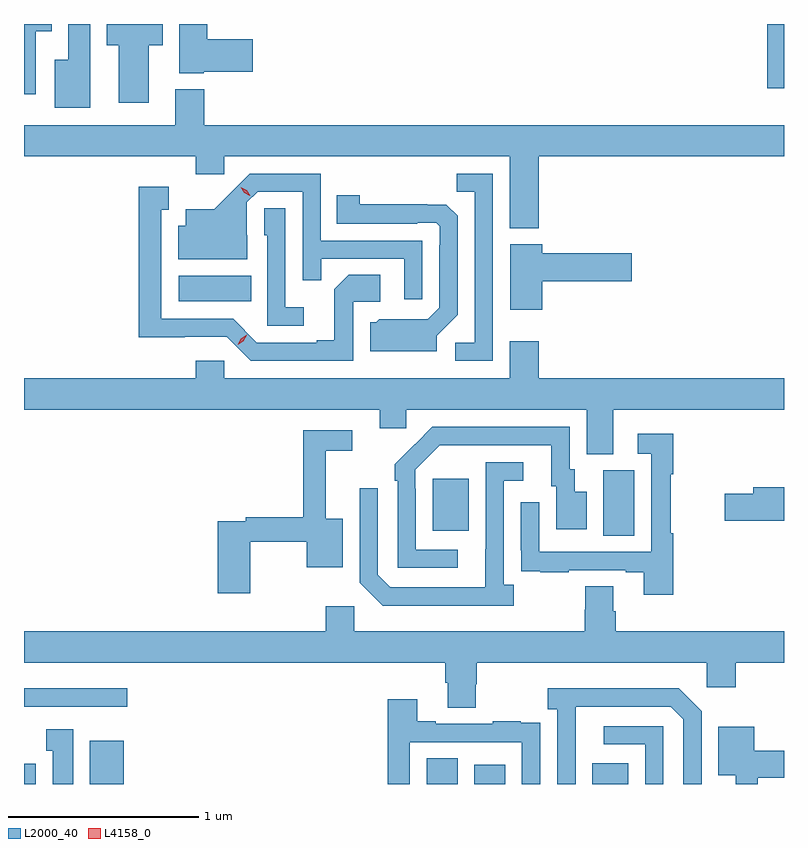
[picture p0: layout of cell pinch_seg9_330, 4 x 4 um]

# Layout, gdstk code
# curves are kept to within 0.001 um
import gdstk
lib = gdstk.Library(unit=1e-6, precision=1e-09)
def R(c, l, rs):  # rectangles x0, y0, x1, y1
    for r in rs: c.add(gdstk.rectangle(r[:2], r[2:], *l))
def P(c, l, *ps):  # polygons
    for p in ps: c.add(gdstk.Polygon(p, *l))
L2000_40 = (2000, 40)
L4158_0 = (4158, 0)

pinch_seg9_330 = lib.new_cell('pinch_seg9_330')
R(pinch_seg9_330, L2000_40, [(613.861,1187.789,613.924,1187.896), (614.207,1187.789,614.386,1188.016), (615.98,1187.789,616.144,1187.924), (616.232,1187.789,616.393,1187.89), (616.853,1187.789,617.041,1187.899), (613.861,1188.195,614.404,1188.292), (616.91,1189.096,617.074,1189.44), (616.013,1189.121,616.201,1189.396), (614.676,1190.33,615.056,1190.464), (617.773,1191.45,617.861,1191.789)])
P(pinch_seg9_330, L2000_40, [(614.808,1191.539),(615.064,1191.539),(615.064,1191.71),(614.825,1191.71),(614.825,1191.789),(614.678,1191.789),(614.678,1191.53),(614.808,1191.53)],
  [(613.924,1191.752),(614.008,1191.752),(614.008,1191.789),(613.861,1191.789),(613.861,1191.42),(613.924,1191.42)],
  [(614.518,1191.677),(614.59,1191.677),(614.59,1191.789),(614.297,1191.789),(614.297,1191.677),(614.36,1191.677),(614.36,1191.375),(614.518,1191.375)],
  [(614.209,1191.789),(614.093,1191.789),(614.093,1191.601),(614.024,1191.601),(614.024,1191.347),(614.209,1191.347)],
  [(616.571,1191.092),(617.861,1191.092),(617.861,1191.256),(614.81,1191.256),(614.81,1191.445),(614.657,1191.445),(614.657,1191.256),(613.861,1191.256),(613.861,1191.092),(614.765,1191.092),(614.765,1190.997),(614.916,1190.997),(614.916,1191.092),(616.418,1191.092),(616.418,1190.714),(616.571,1190.714)],
  [(616.329,1191),(616.138,1191),(616.138,1190.905),(616.233,1190.905),(616.233,1190.112),(616.131,1190.112),(616.131,1190.016),(616.329,1190.016)],
  [(615.957,1190.649),(615.423,1190.649),(615.423,1191),(615.05,1191),(614.863,1190.815),(614.711,1190.815),(614.711,1190.728),(614.672,1190.728),(614.672,1190.552),(615.037,1190.552),(615.037,1190.676),(615.033,1190.676),(615.033,1190.85),(615.09,1190.907),(615.327,1190.907),(615.327,1190.44),(615.425,1190.44),(615.425,1190.553),(615.861,1190.553),(615.861,1190.34),(615.957,1190.34)],
  [(615.594,1190.328),(615.736,1190.328),(615.736,1190.468),(615.571,1190.468),(615.495,1190.392),(615.495,1190.125),(615.401,1190.125),(615.401,1190.112),(615.087,1190.112),(614.961,1190.238),(614.584,1190.238),(614.584,1190.811),(614.623,1190.811),(614.623,1190.932),(614.466,1190.932),(614.466,1190.141),(614.928,1190.142),(615.054,1190.016),(615.594,1190.016)],
  [(616.033,1190.148),(616.143,1190.258),(616.143,1190.78),(616.084,1190.839),(615.627,1190.84),(615.627,1190.887),(615.508,1190.887),(615.508,1190.739),(615.932,1190.739),(615.932,1190.742),(616.032,1190.742),(616.05,1190.724),(616.05,1190.624),(616.047,1190.624),(616.047,1190.295),(615.987,1190.235),(615.73,1190.236),(615.714,1190.22),(615.683,1190.22),(615.683,1190.066),(616.033,1190.066)],
  [(615.334,1190.299),(615.237,1190.299),(615.237,1190.819),(615.126,1190.819),(615.126,1190.676),(615.141,1190.676),(615.141,1190.202),(615.334,1190.202)],
  [(616.588,1190.435),(617.059,1190.435),(617.059,1190.582),(616.588,1190.582),(616.588,1190.629),(616.421,1190.629),(616.421,1190.286),(616.588,1190.286)],
  [(616.963,1189.76),(617.861,1189.76),(617.861,1189.924),(616.571,1189.924),(616.571,1190.119),(616.418,1190.119),(616.418,1189.924),(614.916,1189.924),(614.916,1190.017),(614.765,1190.017),(614.765,1189.924),(613.861,1189.924),(613.861,1189.76),(615.734,1189.76),(615.734,1189.662),(615.873,1189.662),(615.873,1189.76),(616.823,1189.76),(616.823,1189.525),(616.963,1189.525)],
  [(616.144,1189.023),(615.924,1189.023),(615.924,1189.343),(615.921,1189.343),(615.921,1189.443),(616.05,1189.572),(616.637,1189.572),(616.637,1189.356),(616.661,1189.356),(616.661,1189.131),(616.822,1189.131),(616.822,1189.327),(616.759,1189.327),(616.759,1189.446),(616.734,1189.446),(616.734,1189.668),(616.01,1189.668),(615.813,1189.473),(615.813,1189.385),(615.828,1189.385),(615.828,1188.927),(616.144,1188.927)],
  [(615.052,1189.065),(615.35,1189.065),(615.35,1188.929),(615.538,1188.929),(615.538,1189.186),(615.449,1189.186),(615.449,1189.542),(615.589,1189.542),(615.589,1189.65),(615.331,1189.65),(615.331,1189.193),(615.028,1189.193),(615.028,1189.173),(614.882,1189.173),(614.882,1188.792),(615.052,1188.792)],
  [(617.279,1189.108),(617.264,1189.108),(617.264,1189.42),(617.279,1189.42),(617.279,1189.633),(617.091,1189.633),(617.091,1189.527),(617.163,1189.527),(617.163,1189.011),(616.572,1189.011),(616.572,1189.273),(616.476,1189.273),(616.476,1189.018),(616.477,1189.018),(616.477,1188.909),(616.579,1188.909),(616.579,1188.903),(616.727,1188.903),(616.727,1188.915),(617.027,1188.915),(617.027,1188.903),(617.123,1188.903),(617.123,1188.786),(617.279,1188.786)],
  [(616.438,1188.838),(616.386,1188.838),(616.386,1189.386),(616.489,1189.386),(616.489,1189.482),(616.29,1189.482),(616.289,1188.825),(615.789,1188.825),(615.723,1188.891),(615.723,1189.345),(615.627,1189.345),(615.627,1188.849),(615.748,1188.728),(616.438,1188.728)],
  [(617.861,1189.351),(617.699,1189.351),(617.699,1189.317),(617.55,1189.317),(617.55,1189.175),(617.861,1189.175)],
  [(616.239,1188.315),(616.244,1188.315),(616.244,1188.428),(617.454,1188.428),(617.454,1188.297),(617.606,1188.297),(617.606,1188.428),(617.861,1188.428),(617.861,1188.592),(616.976,1188.592),(616.976,1188.698),(616.963,1188.698),(616.963,1188.83),(616.816,1188.83),(616.816,1188.705),(616.811,1188.705),(616.811,1188.592),(615.6,1188.592),(615.6,1188.724),(615.449,1188.724),(615.449,1188.592),(613.861,1188.592),(613.861,1188.428),(616.079,1188.428),(616.079,1188.322),(616.091,1188.322),(616.091,1188.19),(616.239,1188.19)],
  [(616.764,1187.995),(616.765,1188.195),(617.265,1188.195),(617.331,1188.129),(617.331,1187.789),(617.427,1187.789),(617.427,1188.171),(617.306,1188.292),(616.617,1188.292),(616.617,1188.182),(616.668,1188.182),(616.668,1187.789),(616.764,1187.789)],
  [(615.891,1188.009),(616.482,1188.009),(616.482,1187.789),(616.578,1187.789),(616.578,1188.002),(616.577,1188.002),(616.577,1188.111),(616.475,1188.111),(616.475,1188.118),(616.327,1188.118),(616.327,1188.105),(616.027,1188.105),(616.027,1188.118),(615.931,1188.118),(615.931,1188.235),(615.775,1188.235),(615.775,1187.789),(615.891,1187.789)],
  [(617.226,1188.093),(616.911,1188.093),(616.911,1187.997),(617.13,1187.997),(617.13,1187.789),(617.226,1187.789)],
  [(617.723,1187.822),(617.861,1187.822),(617.861,1187.964),(617.704,1187.964),(617.704,1188.091),(617.516,1188.091),(617.516,1187.834),(617.606,1187.834),(617.606,1187.789),(617.723,1187.789)],
  [(614.119,1188.076),(613.979,1188.076),(613.979,1187.963),(614.012,1187.963),(614.012,1187.789),(614.119,1187.789)])
P(pinch_seg9_330, L4158_0, [(615.05,1190.884),(615.02,1190.9),(615.003,1190.929),(615.003,1190.93),(615.003,1190.93),(615.034,1190.914),(615.051,1190.884),(615.051,1190.884)],
  [(614.985,1190.1),(614.985,1190.1),(615.001,1190.133),(615.033,1190.153),(615.033,1190.153),(615.033,1190.152),(615.016,1190.119),(614.985,1190.1)])

lib.write_gds('pinch_seg9_330.gds')
